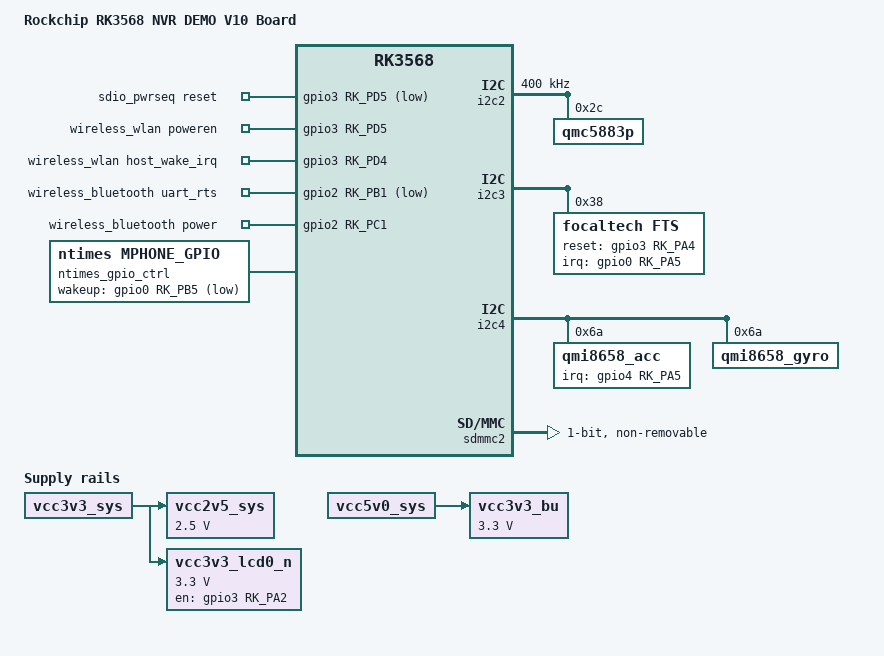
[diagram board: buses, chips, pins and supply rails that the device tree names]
// SPDX-License-Identifier: (GPL-2.0+ OR MIT)
/*
 * Copyright (c) 2020 Rockchip Electronics Co., Ltd.
 *
 */

/dts-v1/;

#include "ntimes-np3568.dtsi"
//If you use lvds screen(1280x480), please turn on this configuration
//#include "ntimes-single-lvds.dts"
#include <dt-bindings/clock/rk618-cru.h>

/ {
	model = "Rockchip RK3568 NVR DEMO V10 Board";
	compatible = "rockchip,ntimes-rk3568-evb", "rockchip,rk3568";
#if 0
	gpio-leds {
		compatible = "gpio-leds";

		hdd-led {
			gpios = <&gpio4 RK_PC5 GPIO_ACTIVE_HIGH>;
			default-state = "off";
		};
		net-led {
			gpios = <&gpio4 RK_PC6 GPIO_ACTIVE_HIGH>;
			default-state = "off";
		};
		work-led {
			gpios = <&gpio0 RK_PC4 GPIO_ACTIVE_HIGH>;
			linux,default-trigger = "timer";
		};
	};

	i2s1_sound: i2s1-sound {
		status = "okay";
		compatible = "simple-audio-card";
		simple-audio-card,format = "i2s";
		simple-audio-card,mclk-fs = <256>;
		simple-audio-card,name = "rockchip,i2s1-sound";
		simple-audio-card,cpu {
			sound-dai = <&i2s1_8ch>;
		};
		simple-audio-card,codec {
			sound-dai = <&es8311>;
		};
	};
#endif
	vcc2v5_sys: vcc2v5-ddr {
		compatible = "regulator-fixed";
		regulator-name = "vcc2v5-sys";
		regulator-always-on;
		regulator-boot-on;
		regulator-min-microvolt = <2500000>;
		regulator-max-microvolt = <2500000>;
		vin-supply = <&vcc3v3_sys>;
	};
#if 0
	vcc3v3_pcie: gpio-regulator {
		compatible = "regulator-fixed";
		regulator-name = "vcc3v3_pcie";
		regulator-min-microvolt = <3300000>;
		regulator-max-microvolt = <3300000>;
		gpio = <&gpio0 RK_PD4 GPIO_ACTIVE_HIGH>;
		startup-delay-us = <5000>;
		vin-supply = <&dc_12v>;
	};

	pcie30_avdd0v9: pcie30-avdd0v9 {
		compatible = "regulator-fixed";
		regulator-name = "pcie30_avdd0v9";
		regulator-always-on;
		regulator-boot-on;
		regulator-min-microvolt = <900000>;
		regulator-max-microvolt = <900000>;
		vin-supply = <&vcc3v3_sys>;
	};

	pcie30_avdd1v8: pcie30-avdd1v8 {
		compatible = "regulator-fixed";
		regulator-name = "pcie30_avdd1v8";
		regulator-always-on;
		regulator-boot-on;
		regulator-min-microvolt = <1800000>;
		regulator-max-microvolt = <1800000>;
		vin-supply = <&vcc3v3_sys>;
	};
#endif
	vcc3v3_bu: vcc3v3-bu {
		compatible = "regulator-fixed";
		regulator-name = "vcc3v3_bu";
		regulator-always-on;
		regulator-boot-on;
		regulator-min-microvolt = <3300000>;
		regulator-max-microvolt = <3300000>;
		vin-supply = <&vcc5v0_sys>;
	};

	vcc3v3_lcd0_n: vcc3v3-lcd0-n {
		compatible = "regulator-fixed";
		regulator-name = "vcc3v3_lcd0_n";
		regulator-boot-on;
		regulator-always-on;
		regulator-min-microvolt = <3300000>;
		regulator-max-microvolt = <3300000>;
		enable-active-high;
		gpio = <&gpio3 RK_PA2 GPIO_ACTIVE_HIGH>;
		vin-supply = <&vcc3v3_sys>;

		regulator-state-mem {
			regulator-off-in-suspend;
		};
	};

	sdio_pwrseq: sdio-pwrseq {
        compatible = "mmc-pwrseq-simple";
        pinctrl-names = "default";
        pinctrl-0 = <&wifi_enable_h>;

        /*
         * On the module itself this is one of these (depending
         * on the actual card populated):
         * - SDIO_RESET_L_WL_REG_ON
         * - PDN (power down when low)
         */
        post-power-on-delay-ms = <200>;
        reset-gpios = <&gpio3 RK_PD5 GPIO_ACTIVE_LOW>;
    };

    wireless_wlan: wireless-wlan {
        compatible = "wlan-platdata";
        rockchip,grf = <&grf>;
        wifi_chip_type = "rtl8821cs";
        pinctrl-names = "default";
        pinctrl-0 = <&wifi_host_wake_irq>;
		WIFI,poweren_gpio = <&gpio3 RK_PD5 GPIO_ACTIVE_HIGH>;
        WIFI,host_wake_irq = <&gpio3 RK_PD4 GPIO_ACTIVE_HIGH>;
        status = "okay";
    };

    wireless_bluetooth: wireless-bluetooth {
        compatible = "bluetooth-platdata";
        uart_rts_gpios = <&gpio2 RK_PB1 GPIO_ACTIVE_LOW>;
        pinctrl-names = "default", "rts_gpio";
        pinctrl-0 = <&uart8m0_rtsn>;
        pinctrl-1 = <&uart8_gpios>;
        BT,power_gpio = <&gpio2 RK_PC1 GPIO_ACTIVE_HIGH>;
        status = "okay";
    };
#if 0
	backage_en: backage-en-n {
		compatible = "regulator-fixed";
		regulator-name = "backage_en";
		regulator-boot-on;
		regulator-min-microvolt = <3300000>;
		regulator-max-microvolt = <3300000>;
		enable-active-high;
		regulator-always-on;
		gpio = <&gpio1 RK_PB3 GPIO_ACTIVE_HIGH>;
		vin-supply = <&vcc3v3_sys>;
		regulator-state-mem {
			regulator-off-in-suspend;
		};
	};

	backlight: backlight {
		compatible = "pwm-backlight";
		pwms = <&pwm2 0 25000 0>;
		brightness-levels = <
			0  20  20  21  21  22  22  23
			23  24  24  25  25  26  26  27
			27  28  28  29  29  30  30  31
			31  32  32  33  33  34  34  35
			35  36  36  37  37  38  38  39
			40  41  42  43  44  45  46  47
			48  49  50  51  52  53  54  55
			56  57  58  59  60  61  62  63
			64  65  66  67  68  69  70  71
			72  73  74  75  76  77  78  79
			80  81  82  83  84  85  86  87
			88  89  90  91  92  93  94  95
			96  97  98  99 100 101 102 103
			104 105 106 107 108 109 110 111
			112 113 114 115 116 117 118 119
			120 121 122 123 124 125 126 127
			128 129 130 131 132 133 134 135
			136 137 138 139 140 141 142 143
			144 145 146 147 148 149 150 151
			152 153 154 155 156 157 158 159
			160 161 162 163 164 165 166 167
			168 169 170 171 172 173 174 175
			176 177 178 179 180 181 182 183
			184 185 186 187 188 189 190 191
			192 193 194 195 196 197 198 199
			200 201 202 203 204 205 206 207
			208 209 210 211 212 213 214 215
			216 217 218 219 220 221 222 223
			224 225 226 227 228 229 230 231
			232 233 234 235 236 237 238 239
			240 241 242 243 244 245 246 247
			248 249 250 251 252 253 254 255
		>;
		default-brightness-level = <200>;
	};
#endif
     ntimes_gpio_ctrl {
        status = "okay";
        compatible = "ntimes,mphone_gpio";
	wakeup-gpios = <&gpio0 RK_PB5 GPIO_ACTIVE_LOW>;
    };
#if 1
	pwm3_dev {
		compatible = "ntimes,pwm2_ctrl";
		pwm2_ctrl {
			pwms = <&pwm3 0 50000 0>;
			pwm-names = "pwm2_ctrl";
		};
	};
#endif
};

&combphy2_psq{
	status = "disabled";
};

&i2c2 {
    status = "okay";
    pinctrl-names = "default";
    pinctrl-0 = <&i2c2m1_xfer>;
    clock-frequency = <400000>;
#if 1
	ak09918_compass: ak09918_compass@c {
        compatible = "ak09918";
        reg = <0x0c>;
        type = <SENSOR_TYPE_COMPASS>;
        irq_enable = <0>;
        poll_delay_ms = <30>;
        layout = <1>;
		status = "disabled";
    };
#else
	ak09918@c {
		compatible = "asahi-kasei,ak09918";
		reg = <0x0c>;
        	status = "okay";
		mount-matrix =
			"1",  /* x0 */
			"0",  /* y0 */
			"0",  /* z0 */
			"0",  /* x1 */
			"1",  /* y1 */
			"0",  /* z1 */
			"0",  /* x2 */
			"0",  /* y2 */
			"1";  /* z2 */
	};
#endif

	qmc5883p: qmc5883p@2c {
		compatible = "qmc5883p";
		reg = <0x2c>;
		type = <SENSOR_TYPE_COMPASS>;
		irq_enable = <0>;
		poll_delay_ms = <30>;
		layout = <1>;
		status = "okay";
	};
};

&i2c3 {
	status = "okay";
	pinctrl-names = "default";
    pinctrl-0 = <&i2c3m1_xfer>;

	focaltech: focaltech@38 {
		status = "okay";
		compatible = "focaltech,fts";
		reg = <0x38>;
		pinctrl-names = "default";
		pinctrl-0 = <&tp_gpio>;
		focaltech,reset-gpio = <&gpio3 RK_PA4 GPIO_ACTIVE_HIGH>;
		focaltech,irq-gpio = <&gpio0 RK_PA5 IRQ_TYPE_EDGE_FALLING>;
		focaltech,display-coords =  <0 0 480 480>;
		focaltech,max-touch-number = <5>;
    };
#if 0
	es8311: es8311@18 {
		compatible = "everest,es8311";
		reg = <0x18>;
		clocks = <&cru I2S1_MCLKOUT>;
		clock-names = "mclk";
		adc-pga-gain = <6>;	/* 18dB */
		adc-volume = <0xbf>;	/* 0dB */
		dac-volume = <0xbf>;	/* 0dB */
		aec-mode = "dac left, adc right";
		pinctrl-names = "default";
		pinctrl-0 = <&i2s1m0_mclk>;
		assigned-clocks = <&cru I2S1_MCLKOUT>, <&cru I2S1_MCLK_TX_IOE>;
		assigned-clock-rates = <12288000>;
		assigned-clock-parents = <&cru I2S1_MCLKOUT_TX>, <&cru I2S1_MCLKOUT_TX>;
		spk-ctl-gpios = <&gpio2 RK_PA5 GPIO_ACTIVE_HIGH>;
		#sound-dai-cells = <0>;
	};
#endif
};

&i2c4 {
    status = "okay";
	pinctrl-names = "default";
    pinctrl-0 = <&i2c4m0_xfer>;
#if 1
	mpu6500_acc: mpu_acc@68 {
        status = "disabled";
        compatible = "mpu6500_acc";
        reg = <0x68>;
        irq-gpio = <&gpio4 RK_PA5 IRQ_TYPE_EDGE_RISING>;
        irq_enable = <0>;
        poll_delay_ms = <30>;
        type = <SENSOR_TYPE_ACCEL>;
        layout = <1>;
    };

    mpu6500_gyro: mpu_gyro@68 {
        status = "disabled";
        compatible = "mpu6500_gyro";
        reg = <0x68>;
        poll_delay_ms = <30>;
        type = <SENSOR_TYPE_GYROSCOPE>;
        layout = <1>;
	};
#else
	mpu6500@68 {
		compatible = "invensense,mpu6500";
		reg = <0x68>;
		interrupt-parent = <&gpio4>;
		interrupts = <RK_PA5 IRQ_TYPE_EDGE_RISING>;
		pinctrl-names = "default";
		pinctrl-0 = <&gsensor_int_l>;

		mount-matrix = "1",                   /* x0 */
		               "0",                   /* y0 */
		               "0",                   /* z0 */

		               "0",                   /* x1 */
		               "1",                   /* y1 */
		               "0",                   /* z1 */

		               "0",                   /* x2 */
		               "0",                   /* y2 */
		               "1";                   /* z2 */
	};
#endif
	qmi8658_acc: mpu_acc@6a {
		status = "okay";
		compatible = "qmi8658_acc";
		reg = <0x6a>;
		irq-gpio = <&gpio4 RK_PA5 IRQ_TYPE_EDGE_RISING>;
		irq_enable = <0>;
		poll_delay_ms = <30>;
		type = <SENSOR_TYPE_ACCEL>;
		layout = <1>;
	};

	qmi8658_gyro: mpu_gyro@6a {
		status = "okay";
		compatible = "qmi8658_gyro";
		reg = <0x6a>;
		irq_enable = <0>;
		poll_delay_ms = <30>;
		type = <SENSOR_TYPE_GYROSCOPE>;
		layout = <1>;
	};
};

&sdmmc2 {
    max-frequency = <150000000>;
    supports-sdio;
    bus-width = <1>;
    disable-wp;
    cap-sd-highspeed;
    cap-sdio-irq;
    keep-power-in-suspend;
    mmc-pwrseq = <&sdio_pwrseq>;
    non-removable;
    pinctrl-names = "default";
    pinctrl-0 = <&sdmmc2m0_bus4 &sdmmc2m0_cmd &sdmmc2m0_clk>;
    status = "okay";
};

&pinctrl {

	sdio-pwrseq {
        wifi_enable_h: wifi-enable-h {
            rockchip,pins = <3 RK_PD5 RK_FUNC_GPIO &pcfg_pull_none>;
        };
    };

    wireless-wlan {
        wifi_host_wake_irq: wifi-host-wake-irq {
            rockchip,pins = <3 RK_PD4 RK_FUNC_GPIO &pcfg_pull_down>;
        };
    };

    wireless-bluetooth {
        uart8_gpios: uart8-gpios {
            rockchip,pins = <2 RK_PC1 RK_FUNC_GPIO &pcfg_pull_none>;
        };
    };

	rtc {
		rtc_int: rtc-int {
			rockchip,pins = <0 RK_PD3 RK_FUNC_GPIO &pcfg_pull_up>;
		};
	};

	tp {
		tp_gpio: tp-gpio {
			rockchip,pins =
				<3 RK_PA4 RK_FUNC_GPIO &pcfg_pull_up>,
				<0 RK_PA5 RK_FUNC_GPIO &pcfg_pull_up>;
		};
	};

	mpu6500 {
		gsensor_int_l: gsensor-int-l {
			rockchip,pins = <4 RK_PA5 RK_FUNC_GPIO &pcfg_pull_none>;
		};
	};

};
